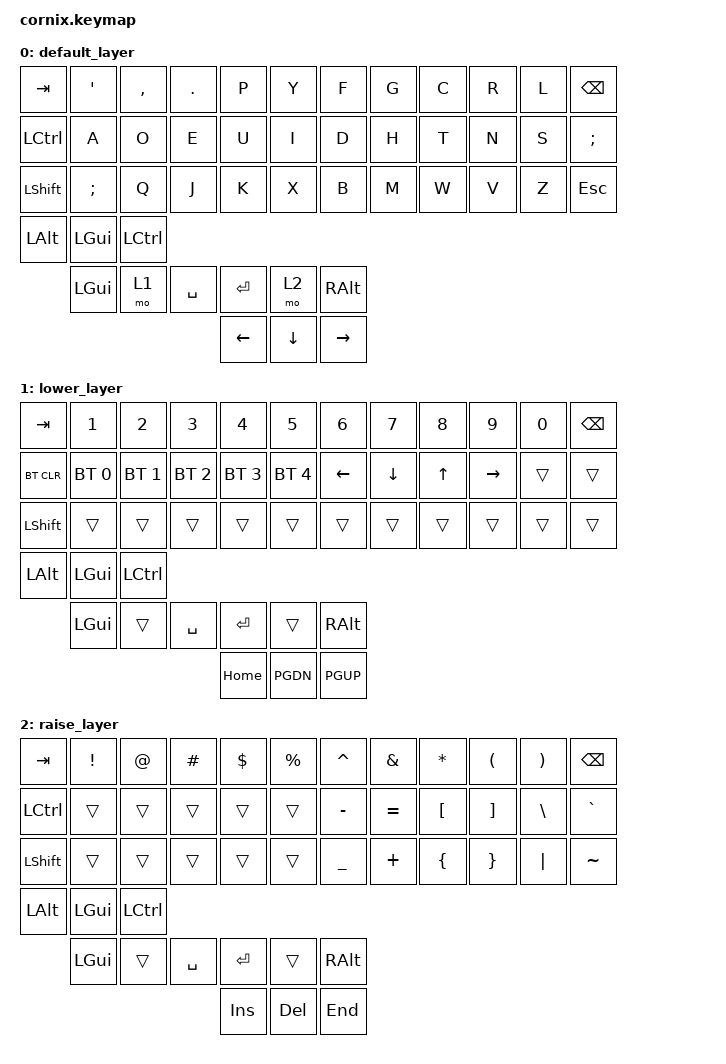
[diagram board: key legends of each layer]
#include <behaviors.dtsi>
#include <dt-bindings/zmk/keys.h>
#include <dt-bindings/zmk/bt.h>

/ {
    keymap {
        compatible = "zmk,keymap";

        /* =========================
         * DEFAULT LAYER — DVORAK
         * ========================= */
        default_layer {
            bindings = <
   &kp TAB   &kp SQT &kp COMMA &kp DOT &kp P &kp Y     &kp F &kp G &kp C &kp R &kp L &kp BSPC
   &kp LCTRL &kp A   &kp O     &kp E   &kp U &kp I     &kp D &kp H &kp T &kp N &kp S &kp SEMI
   &kp LSHFT &kp SEMI &kp Q    &kp J   &kp K &kp X     &kp B &kp M &kp W &kp V &kp Z &kp ESC
   &kp LALT  &kp LGUI &kp LCTRL
               &kp LGUI &mo 1 &kp SPACE &kp RET &mo 2 &kp RALT
                                       &kp LEFT &kp DOWN &kp RIGHT
            >;
        };

        /* =========================
         * LOWER LAYER
         * ========================= */
        lower_layer {
            bindings = <
   &kp TAB    &kp N1 &kp N2 &kp N3 &kp N4 &kp N5     &kp N6 &kp N7 &kp N8 &kp N9 &kp N0 &kp BSPC
   &bt BT_CLR &bt BT_SEL 0 &bt BT_SEL 1 &bt BT_SEL 2 &bt BT_SEL 3 &bt BT_SEL 4
              &kp LEFT &kp DOWN &kp UP &kp RIGHT &trans &trans
   &kp LSHFT  &trans &trans &trans &trans &trans    &trans &trans &trans &trans &trans &trans

   &kp LALT  &kp LGUI &kp LCTRL
               &kp LGUI &trans &kp SPACE &kp RET &trans &kp RALT
                                       &kp HOME &kp PGDN &kp PGUP
            >;
        };

        /* =========================
         * RAISE LAYER
         * ========================= */
        raise_layer {
            bindings = <
   &kp TAB  &kp EXCL &kp AT &kp HASH &kp DLLR &kp PRCNT   &kp CARET &kp AMPS &kp ASTRK &kp LPAR &kp RPAR &kp BSPC
   &kp LCTRL &trans  &trans &trans   &trans   &trans     &kp MINUS &kp EQUAL &kp LBKT &kp RBKT &kp BSLH &kp GRAVE
   &kp LSHFT &trans  &trans &trans   &trans   &trans     &kp UNDER &kp PLUS  &kp LBRC &kp RBRC &kp PIPE &kp TILDE

   &kp LALT  &kp LGUI &kp LCTRL
               &kp LGUI &trans &kp SPACE &kp RET &trans &kp RALT
                                       &kp INS &kp DEL &kp END
            >;
        };
    };
};
